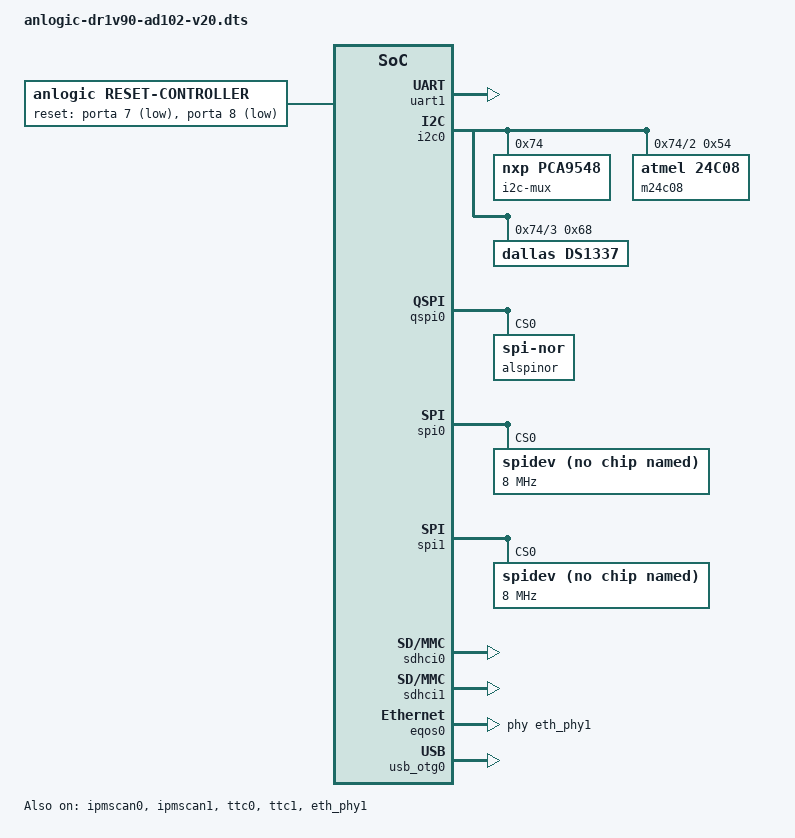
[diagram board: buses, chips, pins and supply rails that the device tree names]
// SPDX-License-Identifier: (GPL-2.0+ OR MIT)

/dts-v1/;
#include "anlogic-dr1v90.dts"
#include "anlogic-dr1v90-softip.dts"

#include <dt-bindings/gpio/gpio.h>
#include <dt-bindings/input/input.h>
#include <dt-bindings/leds/common.h>

&aliases {
	serial0 = &uart1;
	ethernet1 = &eqos1;
};

&cma {
	alloc-ranges = <0x0 0x00000000 0x0 0xffffffff>;
	size = <0x0 0x10000000>;
};

&memory {
	reg = <0x0 0x00000000 0x0 0x3fe00000>;
};

&soc {
	leds {
		compatible = "gpio-leds";
		status = "disabled";

		led1 {
			gpios = <&porta 14 GPIO_ACTIVE_LOW>;
			linux,default-trigger = "heartbeat";
			status = "disabled";
		};

		led2 {
			gpios = <&porta 13 GPIO_ACTIVE_HIGH>;
			linux,default-trigger = "heartbeat";
			status = "disabled";
		};

		led3 {
			gpios = <&porta 12 GPIO_ACTIVE_HIGH>;
			linux,default-trigger = "heartbeat";
			status = "disabled";
		};
	};

	keys {
		compatible = "gpio-keys";

		sw6 {
			gpios = <&porta 10 GPIO_ACTIVE_LOW>;
			linux,code = <103>;
			status = "disabled";
		};
		sw8 {
			gpios = <&porta 11 GPIO_ACTIVE_HIGH>;
			linux,code = <108>;
			status = "disabled";
		};
		sw5 {
			gpios = <&portc 0 GPIO_ACTIVE_HIGH>;
			linux,code = <108>;
			status = "disabled";
		};
	};

	reset: reset-controller {
		compatible = "anlogic,reset-controller";
		#reset-cells = <1>;
		reset-gpios = <&porta 7 GPIO_ACTIVE_LOW>, <&porta 8 GPIO_ACTIVE_LOW>;
		reset-delays = <10>, <10>;
		reset-post-delays = <0>, <100>;
	};
};

&uart0 {
	status = "disabled";
};

&uart1 {
	status = "okay";
};

&ipmscan0 {
	status = "okay";
};

&ipmscan1 {
	status = "okay";
};

&i2c0 {
	status = "okay";

	i2c-mux@74 {
		compatible = "nxp,pca9548";
		#address-cells = <1>;
		#size-cells = <0>;
		reg = <0x74>;
		status = "okay";

		i2c@2 {
			#address-cells = <1>;
			#size-cells = <0>;
			reg = <2>;
			/*
			 * IIC_EEPROM 1kB memory which uses 256B blocks
			 * where every block has different address.
			 *    0 - 256B address 0x54
			 * 256B - 512B address 0x55
			 * 512B - 768B address 0x56
			 * 768B - 1024B address 0x57
			 */
			m24c08: eeprom@54 {
				compatible = "atmel,24c08";
				reg = <0x54>;
				pagesize = <16>;
				address-width = <8>;
				status = "okay";
			};
		};

		i2c@3 {
			#address-cells = <1>;
			#size-cells = <0>;
			reg = <3>;
			ds1337: rtc@68 {
				compatible = "dallas,ds1337";
				reg = <0x68>;
				trickle-resistor-ohms = <250>;
				status = "okay";
			};
		};

	};
};

&i2c1 {
	status = "disabled";
};

&watchdog0 {
	status = "disabled";
};

&qspi0 {
	rx-sample-delay-ns = <2>;
	status = "okay";

	//spidev@0 {
	//	compatible = "rohm,dh2228fv";
	//	reg = <0>;
	//	spi-max-frequency = <8000000>;
	//};

	flash0: flash@0 {
		compatible = "jedec,spi-nor";
		label = "alspinor";
		reg = <0x0>;
		spi-tx-bus-width = <4>;
		spi-rx-bus-width = <4>;
		spi-max-frequency = <AL_QSPI_MAX_FREQUENCY>;
	};
	//num-cs = <2>;
	//cs-gpios = <&gpio0 13 0>,
	//<&gpio0 14 0>;
};

&spi0 {
	status = "okay";
	spidev@0 {
		compatible = "rohm,dh2228fv";
		reg = <0>;
		spi-max-frequency = <8000000>;
	};
};

&spi1 {
	status = "okay";
	spidev@0 {
		compatible = "rohm,dh2228fv";
		reg = <0>;
		spi-max-frequency = <8000000>;
	};
};

&ttc0 {
	status = "okay";
};

&ttc1 {
	status = "okay";
};

&sdhci0 {
	status = "okay";
};

&sdhci1 {
	status = "okay";
};

&eqos0 {
	phy-handle = <&eth_phy1>;
	resets = <&reset 1>;
	reset-names = "stmmaceth";
	status = "okay";
};

&eth_phy0 {
	/* Realtek RTL8211F (0x001cc916) */
	status = "disabled";
};

&eth_phy1 {
	/* Motorcomm YT8531 (0x4f51e91b) */
	status = "okay";
};

&eqos1 {
	phy-handle = <&eth_phy3>;
	status = "disabled";
};

&eth_phy2 {
	/* Realtek RTL8211F (0x001cc916) */
	status = "disabled";
};

&eth_phy3 {
	/* Motorcomm YT8531 (0x4f51e91b) */
	status = "disabled";
};

&usb_otg0 {
	status = "okay";
	resets = <&reset 0>;
	reset-names = "dwc2";
};

&dmac {
	status = "okay";
};

&adc {
	status = "disabled";
};

&smcc {
	status = "disabled";
};

&nfc0 {
	status = "disabled";
	#address-cells = <1>;
	#size-cells = <0>;

	nand@0 {
		nand-ecc-mode = "hw";
		nand-bus-width = <8>;
		label = "alnand0";
		reg = <0x0>;
	};
};
